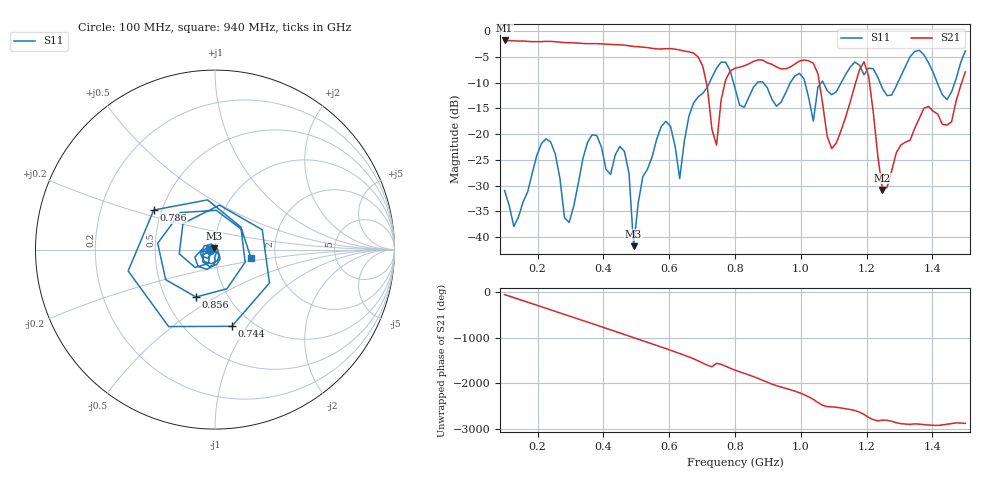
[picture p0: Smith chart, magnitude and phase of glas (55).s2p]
! NanoVNA-App
! Date: 2025-09-25 15:55:54
! Start: 100MHz Stop: 1,5GHz Points: 101
! S-Parameter data: F S11 S21 S12 S22
# Hz S RI R 50
!  Frequency  S11_Real  S11_Imag  S21_Real  S21_Imag  S12_Real  S12_Imag  S22_Real  S22_Imag
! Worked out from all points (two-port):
!   101 points, 100 MHz to 1.5 GHz, reference 50 ohm
!   highest |S21| = -1.80 dB at 100 MHz (marker M1); lowest = -30.9 dB at 1.248 GHz (marker M2)
!   |S21| within 3 dB of the highest: start of sweep to 684.3 MHz
!   lowest |S11| = -41.8 dB at 492 MHz (marker M3), VSWR 1.02, Z = 49.5 + j0.619 ohm
!   |S11| at or under -10 dB: start of sweep to 722.5 MHz; 795.4 MHz to 868 MHz (72.57 MHz wide, 8.72 % of centre); 885.7 MHz to 968 MHz (82.25 MHz wide, 8.87 % of centre) (the widest 3 of 7)
!   S12 and S22 are empty: the file has one direction only
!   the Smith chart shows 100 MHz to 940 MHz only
!   S11 on the Smith chart (normalised r, x): 100 MHz: 0.95, -0.01; 744 MHz: 0.80, -0.85; 786 MHz: 0.45, +0.24; 856 MHz: 0.71, -0.41; 940 MHz: 1.49, -0.14
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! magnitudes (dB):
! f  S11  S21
! 100 MHz  -31.0  -1.8
! 128 MHz  -37.9  -1.9
! 226 MHz  -20.9  -2.0
! 296 MHz  -37.2  -2.2
! 338 MHz  -24.7  -2.4
! 464 MHz  -23.3  -2.7
! 492 MHz  -41.8  -3.0
! 576 MHz  -18.5  -3.5
! 632 MHz  -28.6  -3.7
! 702 MHz  -12.1  -6.8
! 744 MHz  -7.2  -22.1
! 786 MHz  -7.8  -7.7
! 800 MHz  -11.1  -7.2
! 856 MHz  -10.9  -5.9
! 940 MHz  -13.8  -7.3
! 996 MHz  -8.2  -5.8
! 1.038 GHz  -17.5  -6.2
! 1.094 GHz  -12.3  -22.8
! 1.192 GHz  -8.5  -5.9
! 1.248 GHz  -11.1  -30.9
! 1.276 GHz  -12.4  -27.2
! 1.5 GHz  -3.8  -7.9
